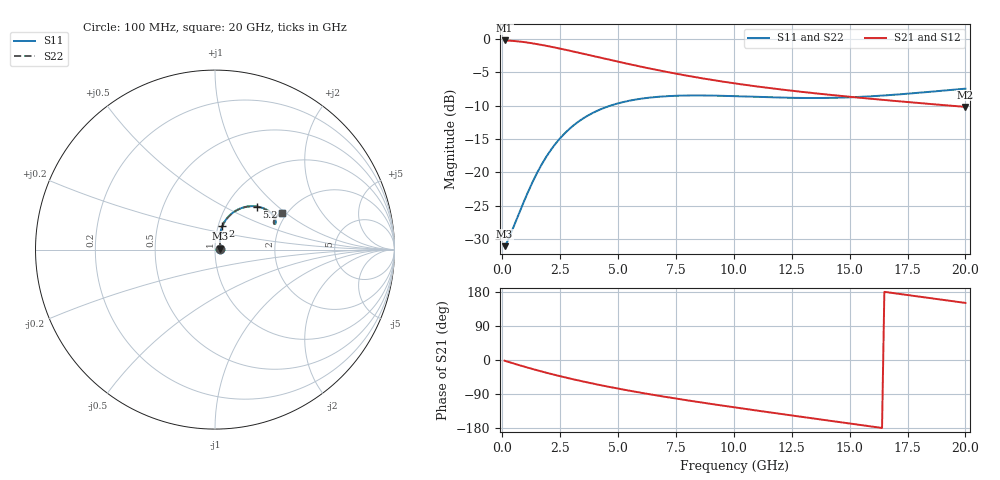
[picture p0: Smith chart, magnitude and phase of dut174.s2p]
! Touchstone file exported from HFSS 2023.1.0
!  File:  D:/Users/fzz/RDL_TSV/temp_RDL_TSV_174_1778754454.aedt
!  Generated:  6:37:26 %x4E0B%x5348  5%x6708 14, 2026
!  Design:  RDL_TSV
!  Project:  temp_RDL_TSV_174_1778754454
!  Setup:  Setup1
!  Solution:  Sweep
! Variables:
!  dtsv = 10.75um
!  hbump = 3um
!  htsv = 68.56um
!  ldown = 263.26um
!  lrdl = 537.71um
!  p = 40
!  p1 = 56.6um
!  rhole = 10um
!  subl = 2940.62um
!  t = 450um
!  tdown = 4.26um
!  trdl = 2.19um
!  viad = 10um
!  wdown = 18um
!  wrdl = 14.41um
!  xbump = 18um
# GHz S MA R 50.000000
! Terminal data exported
! Port[1] = TM1_1_T1
! Port[2] = TM1_4_T1
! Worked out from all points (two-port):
!   200 points, 100 MHz to 20 GHz, reference 50 ohm
!   highest |S21| = -0.25 dB at 100 MHz (marker M1); lowest = -10.2 dB at 20 GHz (marker M2)
!   |S21| within 3 dB of the highest: start of sweep to 4.773 GHz
!   lowest |S11| = -31.0 dB at 100 MHz (marker M3), VSWR 1.06, Z = 52.8 + j0.612 ohm
!   |S11| at or under -10 dB: start of sweep to 4.672 GHz
!   |S22| runs from -31.0 to -7.5 dB; largest |S21 - S12| = 1.4e-14
!   S11 on the Smith chart (normalised r, x): 100 MHz: 1.06, +0.01; 2 GHz: 1.05, +0.28; 5.2 GHz: 1.38, +0.75; 20 GHz: 1.89, +0.93
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0.1  0.02805 11.9  0.9722 -1.9  0.9722 -1.9  0.02805 11.9
! Gamma 0 0 0 0
! Port Impedance 50 0 50 0
0.3  0.03264 31.5  0.969 -5.7  0.969 -5.7  0.03264 31.5
0.6  0.04373 50.5  0.96 -11.3  0.96 -11.3  0.04373 50.5
1.1  0.07064 67.3  0.937 -20.2  0.937 -20.2  0.07061 67.2
1.6  0.1067 72.7  0.9069 -28.7  0.9069 -28.7  0.1066 72.6
2  0.1392 72.6  0.8799 -35.2  0.8799 -35.2  0.139 72.5
2.3  0.164 71.1  0.8588 -39.8  0.8588 -39.8  0.1638 71.0
2.7  0.1964 68.0  0.83 -45.7  0.83 -45.7  0.1961 68.0
3.1  0.2267 64.4  0.8012 -51.4  0.8012 -51.4  0.2263 64.4
3.5  0.2542 60.6  0.7729 -56.9  0.7729 -56.9  0.2537 60.6
4.3  0.2995 53.2  0.7184 -67.1  0.7184 -67.1  0.299 53.1
5.2  0.3356 45.7  0.6625 -77.7  0.6625 -77.7  0.3349 45.6
6  0.3564 40.0  0.6181 -86.5  0.6181 -86.5  0.3556 39.9
6.8  0.3689 35.2  0.5789 -94.8  0.5789 -94.8  0.368 35.2
8.4  0.3768 28.3  0.5143 -110.3  0.5143 -110.3  0.3758 28.3
10.1  0.3719 24.3  0.4623 -125.6  0.4623 -125.6  0.3707 24.3
11.7  0.3643 23.1  0.4246 -139.5  0.4246 -139.5  0.3631 23.1
13.4  0.3604 23.9  0.3929 -154.0  0.3929 -154.0  0.3593 24.0
15  0.3648 25.6  0.3683 -167.5  0.3683 -167.5  0.3637 25.7
16.7  0.3789 27.5  0.3459 178.1  0.3459 178.1  0.378 27.6
18.3  0.3989 28.5  0.3272 164.7  0.3272 164.7  0.3983 28.6
20  0.4235 28.5  0.3094 150.6  0.3094 150.6  0.4231 28.6
